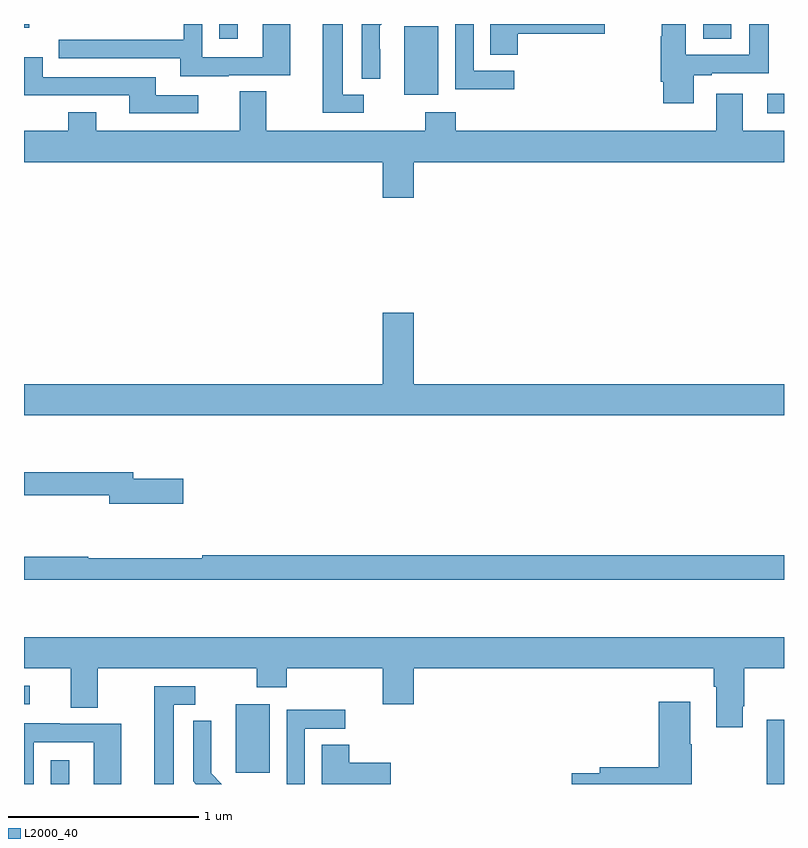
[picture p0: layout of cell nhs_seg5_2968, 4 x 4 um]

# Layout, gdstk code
import gdstk
lib = gdstk.Library(unit=1e-6, precision=1e-09)
def R(c, l, rs):  # rectangles x0, y0, x1, y1
    for r in rs: c.add(gdstk.rectangle(r[:2], r[2:], *l))
def P(c, l, *ps):  # polygons
    for p in ps: c.add(gdstk.Polygon(p, *l))
L2000_40 = (2000, 40)

nhs_seg5_2968 = lib.new_cell('nhs_seg5_2968')
R(nhs_seg5_2968, L2000_40, [(283.14,874.799,283.237,874.924), (286.908,874.799,287,875.137), (284.114,874.857,284.293,875.218), (283,875.22,283.03,875.316), (286.911,878.33,287,878.431), (285.002,878.426,285.181,878.787), (284.028,878.721,284.125,878.799), (286.574,878.722,286.723,878.799), (283,878.78,283.028,878.799)])
P(nhs_seg5_2968, L2000_40, [(284.788,878.427),(284.677,878.427),(284.677,878.799),(284.573,878.799),(284.573,878.331),(284.788,878.331)],
  [(286.525,878.529),(286.621,878.529),(286.621,878.541),(286.921,878.541),(286.921,878.799),(286.817,878.799),(286.817,878.637),(286.483,878.637),(286.483,878.799),(286.357,878.799),(286.357,878.734),(286.352,878.734),(286.352,878.494),(286.364,878.494),(286.364,878.382),(286.525,878.382)],
  [(284.874,878.666),(284.873,878.666),(284.873,878.789),(284.883,878.799),(284.778,878.799),(284.778,878.512),(284.874,878.512)],
  [(284.077,878.529),(284.401,878.529),(284.401,878.799),(284.256,878.799),(284.256,878.625),(283.938,878.625),(283.938,878.799),(283.842,878.799),(283.842,878.715),(283.183,878.715),(283.183,878.619),(283.823,878.619),(283.823,878.525),(284.077,878.525)],
  [(285.58,878.553),(285.366,878.553),(285.366,878.799),(285.27,878.799),(285.27,878.455),(285.58,878.455)],
  [(285.599,878.747),(286.057,878.747),(286.057,878.799),(285.455,878.799),(285.455,878.638),(285.599,878.638)],
  [(283.918,878.424),(283.693,878.424),(283.693,878.52),(283.098,878.52),(283.098,878.623),(283,878.623),(283,878.526),(283.002,878.526),(283.002,878.424),(283.553,878.424),(283.553,878.328),(283.918,878.328)],
  [(285.052,878.072),(287,878.072),(287,878.236),(286.783,878.236),(286.783,878.431),(286.643,878.431),(286.643,878.236),(285.272,878.236),(285.272,878.335),(285.112,878.335),(285.112,878.236),(284.275,878.236),(284.275,878.444),(284.135,878.444),(284.135,878.236),(283.381,878.236),(283.381,878.335),(283.234,878.335),(283.234,878.236),(283,878.236),(283,878.072),(284.888,878.072),(284.888,877.884),(285.052,877.884)],
  [(287,876.904),(285.052,876.904),(285.052,877.279),(284.888,877.279),(284.888,876.904),(283,876.904),(283,876.74),(287,876.74)],
  [(283.837,876.405),(283.576,876.405),(283.576,876.439),(283,876.439),(283,876.318),(283.448,876.318),(283.448,876.275),(283.837,876.275)],
  [(287,876.002),(283.939,876.002),(283.939,875.987),(283.339,875.987),(283.339,875.995),(283,875.995),(283,875.874),(287,875.874)],
  [(286.783,875.209),(286.791,875.209),(286.791,875.408),(287,875.408),(287,875.572),(283,875.572),(283,875.408),(283.247,875.408),(283.247,875.2),(283.387,875.2),(283.387,875.408),(284.224,875.408),(284.224,875.309),(284.384,875.309),(284.384,875.408),(284.888,875.408),(284.888,875.22),(285.052,875.22),(285.052,875.408),(286.631,875.408),(286.631,875.312),(286.643,875.312),(286.643,875.097),(286.783,875.097)],
  [(283.789,875.217),(283.9,875.217),(283.9,875.313),(283.685,875.313),(283.685,874.799),(283.789,874.799)],
  [(286.515,875.009),(286.507,875.009),(286.507,875.233),(286.34,875.233),(286.34,874.886),(286.031,874.886),(286.031,874.856),(285.882,874.856),(285.882,874.799),(286.515,874.799)],
  [(284.478,875.091),(284.692,875.091),(284.692,875.19),(284.382,875.19),(284.382,874.799),(284.478,874.799)],
  [(283.985,874.856),(283.985,874.978),(283.986,874.978),(283.986,875.132),(283.89,875.132),(283.89,874.814),(283.905,874.799),(284.041,874.799)],
  [(283.05,875.019),(283.368,875.019),(283.368,874.799),(283.513,874.799),(283.513,875.115),(283.189,875.115),(283.189,875.119),(283,875.119),(283,874.799),(283.05,874.799)],
  [(284.929,874.911),(284.711,874.911),(284.711,875.006),(284.567,875.006),(284.567,874.799),(284.929,874.799)])

lib.write_gds('nhs_seg5_2968.gds')
